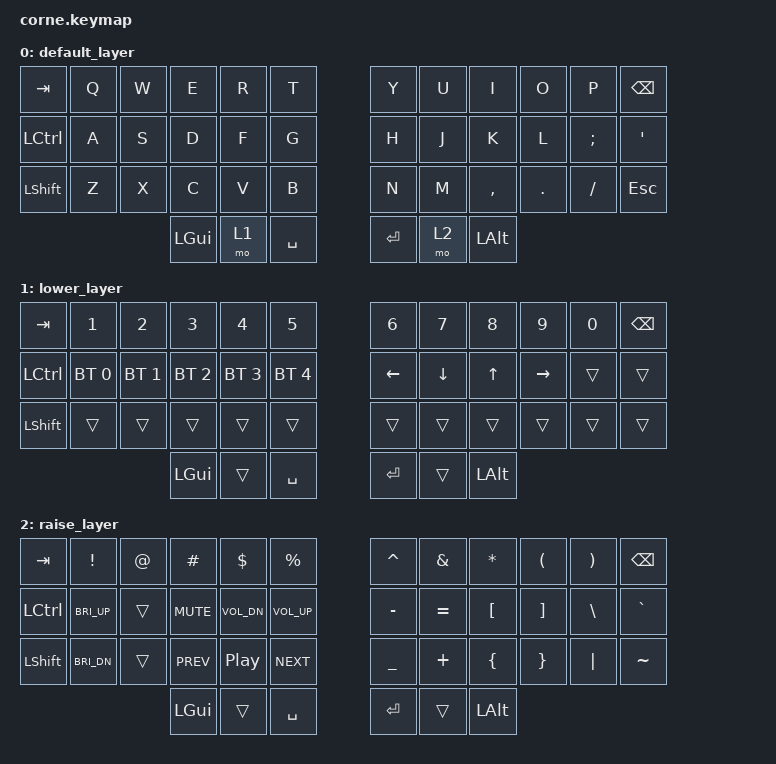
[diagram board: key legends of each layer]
/*
 * Copyright (c) 2020 The ZMK Contributors
 *
 * SPDX-License-Identifier: MIT
 */

#include <behaviors.dtsi>
#include <dt-bindings/zmk/keys.h>
#include <dt-bindings/zmk/bt.h>

/ {
        keymap {
                compatible = "zmk,keymap";

                default_layer {
// -----------------------------------------------------------------------------------------
// |  TAB |  Q  |  W  |  E  |  R  |  T  |   |  Y  |  U   |  I  |  O  |  P  | BSPC |
// | CTRL |  A  |  S  |  D  |  F  |  G  |   |  H  |  J   |  K  |  L  |  ;  |  '   |
// | SHFT |  Z  |  X  |  C  |  V  |  B  |   |  N  |  M   |  ,  |  .  |  /  | ESC  |
//                    | GUI | LWR | SPC |   | ENT | RSE  | ALT |
                        bindings = <
   &kp TAB   &kp Q &kp W &kp E &kp R &kp T   &kp Y &kp U  &kp I     &kp O   &kp P    &kp BSPC
   &kp LCTRL &kp A &kp S &kp D &kp F &kp G   &kp H &kp J  &kp K     &kp L   &kp SEMI &kp SQT
   &kp LSHFT &kp Z &kp X &kp C &kp V &kp B   &kp N &kp M  &kp COMMA &kp DOT &kp FSLH &kp ESC
                  &kp LGUI &mo 1 &kp SPACE   &kp RET &mo 2 &kp LALT
                        >;
                };
                lower_layer {
// -----------------------------------------------------------------------------------------
// |  TAB |  1  |  2  |  3  |  4  |  5  |   |  6  |  7  |  8  |  9  |  0  | BSPC |
// | CTRL | BT1 | BT2 | BT3 | BT4 | BT5 |   | LFT | DWN |  UP | RGT |     |      |
// | SHFT |     |     |     |     |     |   |     |     |     |     |     |      |
//                    | GUI |     | SPC |   | ENT |     | ALT |
                        bindings = <
   &kp TAB    &kp N1       &kp N2       &kp N3       &kp N4       &kp N5         &kp N6   &kp N7   &kp N8 &kp N9    &kp N0 &kp BSPC
   &kp LCTRL  &bt BT_SEL 0 &bt BT_SEL 1 &bt BT_SEL 2 &bt BT_SEL 3 &bt BT_SEL 4   &kp LEFT &kp DOWN &kp UP &kp RIGHT &trans &trans
   &kp LSHFT  &trans       &trans       &trans       &trans       &trans         &trans   &trans   &trans &trans    &trans &trans
                                    &kp LGUI     &trans       &kp SPACE      &kp RET  &trans   &kp LALT
                        >;
                };

                raise_layer {
// -----------------------------------------------------------------------------------------
// |  TAB |  !        |  @  |  #      |  $        |  %        |   |  ^  |  &  |  *  |  (  |  )  | BSPC |
// | CTRL |  C_BRI_UP |     | C_MUTE  |  C_VOL_DN |  C_VOL_UP |   |  -  |  =  |  [  |  ]  |  \  |  `   |
// | SHFT |  C_BRI_DN |     | C_PREV  |  C_PP     |  C_NEXT   |   |  _  |  +  |  {  |  }  | "|" |  ~   |
//                    | GUI |         |  SPC      |           |   | ENT |     | ALT |
                        bindings = <
   &kp TAB   &kp EXCL       &kp AT        &kp HASH    &kp DLLR      &kp PRCNT     &kp CARET &kp AMPS  &kp ASTRK &kp LPAR &kp RPAR &kp BSPC
   &kp LCTRL &kp C_BRI_UP   &trans        &kp C_MUTE  &kp C_VOL_DN  &kp C_VOL_UP  &kp MINUS &kp EQUAL &kp LBKT  &kp RBKT &kp BSLH &kp GRAVE
   &kp LSHFT &kp C_BRI_DN   &trans        &kp C_PREV  &kp C_PP      &kp C_NEXT    &kp UNDER &kp PLUS  &kp LBRC  &kp RBRC &kp PIPE &kp TILDE
                             &kp LGUI &trans   &kp SPACE   &kp RET   &trans    &kp LALT
                        >;
                };
        };
};

//      &kp C_BRI_DN &kp C_BRI_UP &kp C_VOL_DN &kp C_VOL_UP &kp C_PREV &kp C_NEXT
